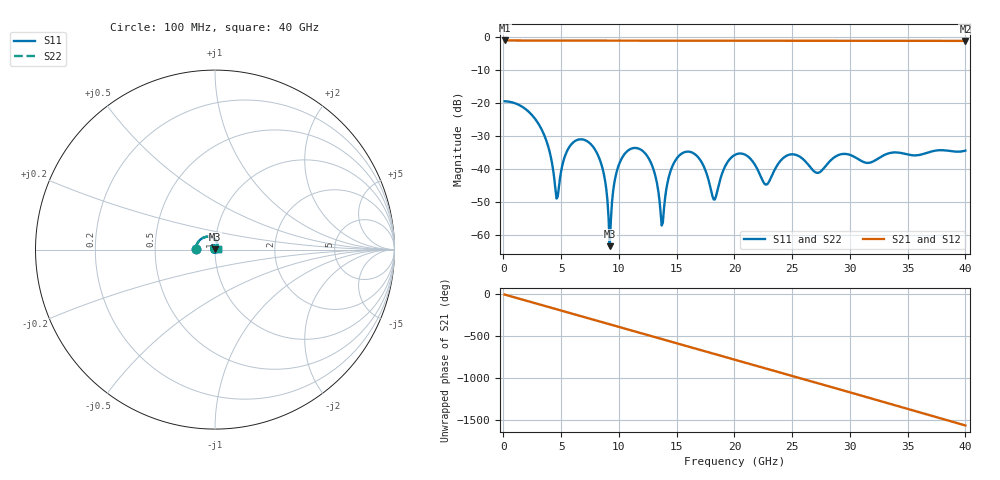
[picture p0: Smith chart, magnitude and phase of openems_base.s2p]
! T_ts6_ms_20: Microstrip L1, ThunderScope stack, w 0.265 mm, 20 mm
! stackup: ThunderScope Rev5.3 6-layer (FR408HR / FR-4, from the board file)
! ports: 1 near A, 2 far A
! openEMS 0.37.0, staircase, base mesh (dfine 0.035 mm), 624512 cells
# Hz S RI R 50
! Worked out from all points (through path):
!   400 points, 100 MHz to 40 GHz, reference 50 ohm
!   highest |S21| = -0.98 dB at 100 MHz (marker M1); lowest = -1.1 dB at 40 GHz (marker M2)
!   group delay of S21, straight-line fit = 109 ps
!   lowest |S11| = -63.4 dB at 9.2 GHz (marker M3), VSWR 1.00, Z = 50 + j0.0614 ohm
!   |S11| at or under -10 dB: start of sweep to end of sweep
!   |S22| runs from -63.4 to -19.4 dB; largest |S21 - S12| = 0
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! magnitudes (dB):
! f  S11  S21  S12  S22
! 100 MHz  -19.4  -1.0  -1.0  -19.4
! 3.2 GHz  -27.3  -1.0  -1.0  -27.3
! 4.6 GHz  -49.0  -1.0  -1.0  -49.0
! 5.4 GHz  -35.4  -1.0  -1.0  -35.4
! 6.8 GHz  -31.0  -1.0  -1.0  -31.0
! 8.6 GHz  -40.1  -1.0  -1.0  -40.1
! 9 GHz  -49.3  -1.0  -1.0  -49.3
! 9.2 GHz  -63.4  -1.0  -1.0  -63.4
! 9.6 GHz  -44.2  -1.0  -1.0  -44.2
! 10.6 GHz  -35.0  -1.0  -1.0  -35.0
! 12.3 GHz  -35.4  -1.0  -1.0  -35.4
! 13.4 GHz  -46.5  -1.0  -1.0  -46.5
! 13.7 GHz  -57.1  -1.0  -1.0  -57.1
! 15.2 GHz  -36.0  -1.0  -1.0  -36.0
! 16.9 GHz  -36.6  -1.0  -1.0  -36.6
! 18.3 GHz  -49.3  -1.0  -1.0  -49.3
! 20.1 GHz  -35.6  -1.1  -1.1  -35.6
! 22.7 GHz  -44.7  -1.1  -1.1  -44.7
! 24.7 GHz  -35.7  -1.1  -1.1  -35.7
! 26.7 GHz  -40.0  -1.1  -1.1  -40.0
! 33.4 GHz  -35.2  -1.1  -1.1  -35.2
! 40 GHz  -34.4  -1.1  -1.1  -34.4
